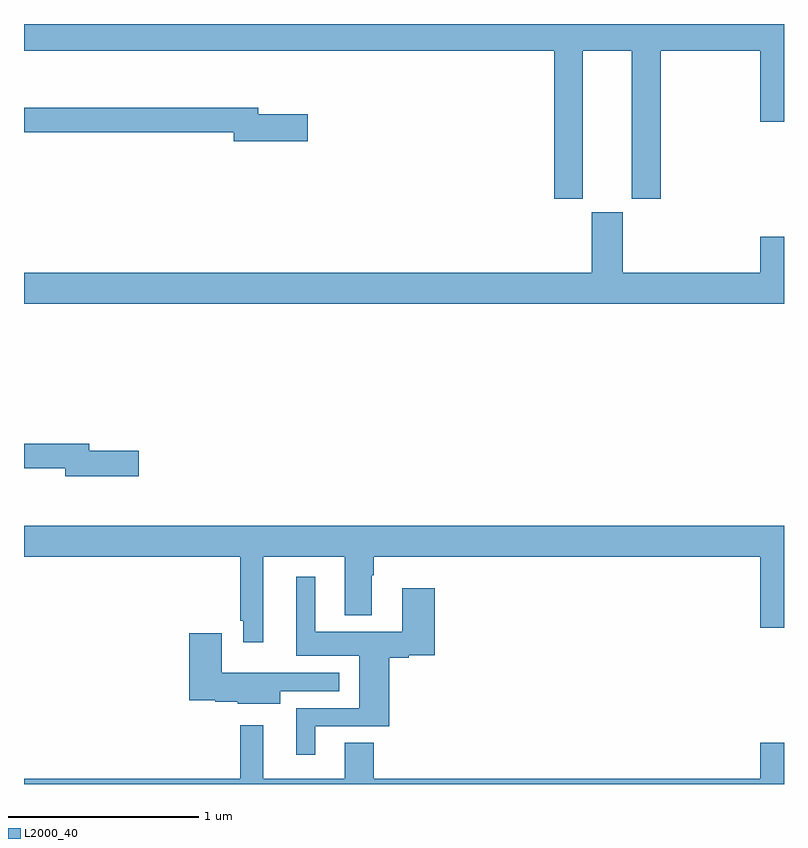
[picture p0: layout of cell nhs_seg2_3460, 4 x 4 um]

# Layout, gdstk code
import gdstk
lib = gdstk.Library(unit=1e-6, precision=1e-09)
def P(c, l, *ps):  # polygons
    for p in ps: c.add(gdstk.Polygon(p, *l))
L2000_40 = (2000, 40)

nhs_seg2_3460 = lib.new_cell('nhs_seg2_3460')
P(nhs_seg2_3460, L2000_40, [(295.942,623.66),(296.198,623.66),(296.198,622.881),(296.351,622.881),(296.351,623.66),(296.876,623.66),(296.876,623.286),(297,623.286),(297,623.8),(293,623.8),(293,623.66),(295.79,623.66),(295.79,622.881),(295.942,622.881)],
  [(294.493,623.325),(294.232,623.325),(294.232,623.359),(293,623.359),(293,623.23),(294.104,623.23),(294.104,623.183),(294.493,623.183)],
  [(297,622.681),(296.876,622.681),(296.876,622.492),(296.152,622.492),(296.152,622.809),(295.988,622.809),(295.988,622.492),(293,622.492),(293,622.328),(297,622.328)],
  [(293.605,621.554),(293.344,621.554),(293.344,621.59),(293,621.59),(293,621.462),(293.216,621.462),(293.216,621.419),(293.605,621.419)],
  [(294.259,620.996),(294.689,620.996),(294.689,620.687),(294.829,620.687),(294.829,620.9),(294.842,620.9),(294.842,620.996),(296.876,620.996),(296.876,620.622),(297,620.622),(297,621.16),(293,621.16),(293,620.996),(294.138,620.996),(294.138,620.659),(294.155,620.659),(294.155,620.547),(294.259,620.547)],
  [(294.532,620.103),(294.923,620.103),(294.923,620.465),(295.026,620.465),(295.026,620.477),(295.163,620.477),(295.163,620.83),(294.992,620.83),(294.992,620.602),(294.532,620.602),(294.532,620.89),(294.434,620.89),(294.434,620.474),(294.764,620.474),(294.764,620.199),(294.434,620.199),(294.434,619.953),(294.532,619.953)],
  [(294.349,620.289),(294.658,620.289),(294.658,620.385),(294.345,620.385),(294.345,620.386),(294.04,620.386),(294.04,620.593),(293.87,620.593),(293.87,620.24),(294.006,620.24),(294.006,620.233),(294.126,620.233),(294.126,620.222),(294.349,620.222)],
  [(297,620.017),(296.876,620.017),(296.876,619.828),(294.842,619.828),(294.842,620.018),(294.689,620.018),(294.689,619.828),(294.259,619.828),(294.259,620.11),(294.138,620.11),(294.138,619.828),(293,619.828),(293,619.8),(297,619.8)])

lib.write_gds('nhs_seg2_3460.gds')
